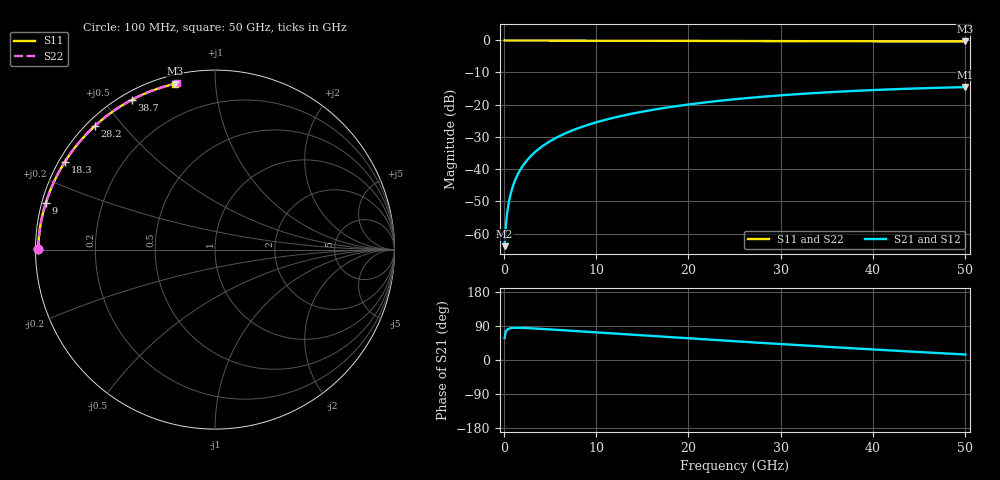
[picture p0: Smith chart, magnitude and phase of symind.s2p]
! Libra (TM) Ver. 3.500.103.3
! Fri Mar  2 21:02:55 2012
! Number of ports is 2
# Hz	S	RI	R	50.000000
! SCATTERING PARAMETERS  :
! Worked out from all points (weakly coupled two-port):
!   500 points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, 100 MHz to 50 GHz, reference 50 ohm
!   highest |S21| = -14.59 dB at 50 GHz (marker M1); lowest = -63.9 dB at 100 MHz (marker M2)
!   lowest |S11| = -0.4 dB at 50 GHz (marker M3), VSWR 39.17, Z = 2.07 + j39.3 ohm
!   |S11| at or under -10 dB: nowhere
!   |S22| runs from -0.4 to -0.1 dB; largest |S21 - S12| = 0
!   S11 on the Smith chart (normalised r, x): 100 MHz: 0.01, +0.00; 9 GHz: 0.01, +0.13; 18.3 GHz: 0.02, +0.27; 28.2 GHz: 0.02, +0.42; 38.7 GHz: 0.03, +0.59; 50 GHz: 0.04, +0.79
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1e8  -0.9852 0.00302  0.000338 0.000541  0.000338 0.000541  -0.9852 0.00305
2e8  -0.9852 0.00604  0.000343 0.00108  0.000343 0.00108  -0.9852 0.00609
4e8  -0.9851 0.0121  0.000363 0.00216  0.000363 0.00216  -0.9851 0.0122
5e8  -0.985 0.0151  0.000378 0.00271  0.000378 0.00271  -0.985 0.0152
8e8  -0.9847 0.0241  0.000442 0.00433  0.000442 0.00433  -0.9847 0.0243
1e9  -0.9844 0.0301  0.000501 0.00541  0.000501 0.00541  -0.9844 0.0304
1.3e9  -0.9839 0.0391  0.000615 0.00703  0.000615 0.00703  -0.9839 0.0394
2.1e9  -0.9821 0.0627  0.00106 0.0113  0.00106 0.0113  -0.9821 0.0632
3.2e9  -0.9786 0.0949  0.002 0.0172  0.002 0.0172  -0.9786 0.0956
4.6e9  -0.9727 0.1352  0.00373 0.0245  0.00373 0.0245  -0.9726 0.1363
6.4e9  -0.9627 0.1862  0.00681 0.0336  0.00681 0.0336  -0.9624 0.1877
8.5e9  -0.9475 0.2443  0.0116 0.0438  0.0116 0.0438  -0.947 0.2462
9e9  -0.9434 0.2579  0.0129 0.0461  0.0129 0.0461  -0.9429 0.2599
1.25e10  -0.9095 0.3499  0.0236 0.061  0.0236 0.061  -0.9084 0.3525
1.68e10  -0.8568 0.4552  0.0403 0.0759  0.0403 0.0759  -0.855 0.4584
1.83e10  -0.8358 0.4897  0.0468 0.0801  0.0468 0.0801  -0.8338 0.4932
2.51e10  -0.7272 0.6313  0.079 0.0919  0.079 0.0919  -0.7237 0.6353
2.82e10  -0.6713 0.6872  0.0944 0.0934  0.0944 0.0934  -0.6671 0.6913
3.34e10  -0.5708 0.7685  0.1196 0.0905  0.1196 0.0905  -0.5655 0.7725
3.87e10  -0.4623 0.8349  0.1431 0.0814  0.1431 0.0814  -0.456 0.8385
4.17e10  -0.3993 0.8653  0.1549 0.0739  0.1549 0.0739  -0.3923 0.8686
5e10  -0.2227 0.9237  0.1805 0.0466  0.1805 0.0466  -0.2145 0.9259
